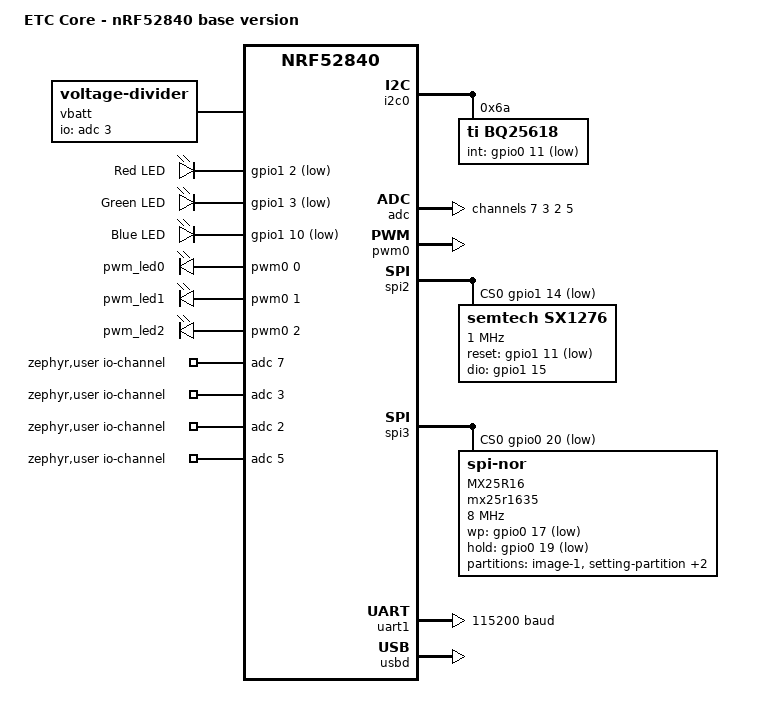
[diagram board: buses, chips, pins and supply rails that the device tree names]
/dts-v1/;
#include <nordic/nrf52840_qiaa.dtsi>
#include <zephyr/dt-bindings/gpio/gpio.h>
#include "etc_pinctrl.dtsi"

/ {
	model = "ETC Core - nRF52840 base version";
        compatible = "nordic,nrf52840-dk-nrf52840";

	chosen {
		zephyr,console = &cdc_acm_uart0;
		zephyr,shell-uart = &cdc_acm_uart0;
		zephyr,uart-mcumgr = &cdc_acm_uart0;
		zephyr,bt-mon-uart = &cdc_acm_uart0;
		zephyr,bt-c2h-uart = &cdc_acm_uart0;
		zephyr,sram = &sram0;
		zephyr,flash = &flash0;
		zephyr,code-partition = &slot0_partition;
		nordic,pm-ext-flash = &mx25r1635;
	};

	vbatt {
		compatible = "voltage-divider";
		output-ohms = <2000000>;
		full-ohms = <(2000000 + 2000000)>;
		io-channels = <&adc 3>;
	};

	ntc {
		compatible = "temp,ntc";
		b-value-k = <3434>;
		norminal-25c-ohms = <10000>;
		reference-res-ohms = <10000>;
		reference-voltage-mv = <3000>;
	};

	leds {
		compatible = "gpio-leds";
		led0: led_0 {
			gpios = <&gpio1 2 GPIO_ACTIVE_LOW>;
			label = "Red LED";
		};
		led1: led_1 {
			gpios = <&gpio1 3 GPIO_ACTIVE_LOW>;
			label = "Green LED";
		};
		led2: led_2 {
			gpios = <&gpio1 10 GPIO_ACTIVE_LOW>;
			label = "Blue LED";
		};
	};

	pwmleds {
		compatible = "pwm-leds";
		pwm_led0: pwm_led_0 {
			pwms = <&pwm0 0 PWM_MSEC(20) PWM_POLARITY_INVERTED>;
		};
		pwm_led1: pwm_led_1 {
			pwms = <&pwm0 1 PWM_MSEC(20) PWM_POLARITY_INVERTED>;
		};
		pwm_led2: pwm_led_2 {
			pwms = <&pwm0 2 PWM_MSEC(20) PWM_POLARITY_INVERTED>;
		};
	};

	board-control {
		vsens_enable: vsens-enable {
			compatible = "etc,output";
			control-gpios = <&gpio1 12 GPIO_ACTIVE_LOW>;
			status = "okay";
		};
		sens_sel0: sens-sel0 {
			compatible = "etc,output";
			control-gpios = <&gpio0 9 GPIO_ACTIVE_HIGH>;
			status = "okay";
		};
		sens_sel1: sens-sel1 {
			compatible = "etc,output";
			control-gpios = <&gpio0 10 GPIO_ACTIVE_HIGH>;
			status = "okay";
		};
		rtc_int: rtc-int {
			compatible = "etc,input";
			control-gpios = <&gpio0 3 GPIO_ACTIVE_LOW>;
			status = "okay";
		};
		hall_int: hall-int {
			compatible = "etc,input";
			control-gpios = <&gpio0 28 GPIO_ACTIVE_LOW>;
			status = "okay";
		};
	};
	
	/* These aliases are provided for compatibility with samples */
	aliases {
		led0 = &led0;
		led1 = &led1;
		led2 = &led2;
		lora0 = &lora;
		pwm-led0 = &pwm_led0;
		pwm-led1 = &pwm_led1;
		pwm-led2 = &pwm_led2;
	};
};

/* A7 = P0.31 = AIN7 - ADC_AMB */ 
/* A3 = P0.5  = AIN3 - ADC_BATT*/
/* A2 = P0.4 = AIN2 - ADC_TH*/
/* A5 = P0.29 = AIN5 - HW_VER*/
/ {
	zephyr,user {
		/* adjust channel number according to pinmux in board.dts */
		io-channels = <&adc 7>, <&adc 3>, <&adc 2>, <&adc 5>;
	};
};

&uicr {
	nfct-pins-as-gpios;
	gpio-as-nreset;
};

&gpiote {
	status = "okay";
};

&gpio0 {
	status = "okay";
	label = "GPIO_0";
};

&gpio1 {
	status = "okay";
	label = "GPIO_1";
};

&i2c0 {
	compatible = "nordic,nrf-twim";
	status = "okay"; 
	label = "I2C_0";
	pinctrl-0 = <&i2c0_default>;
	pinctrl-1 = <&i2c0_sleep>;
	pinctrl-names = "default", "sleep";

        bq25618: bq25618@6a {
                compatible = "ti,bq25618";
                reg = <0x6a>;
                min-voltage = <4400>;
                max-current = <2000>;
                charge-current = <1500>;
                charge-voltage = <4200>;
				precharge-current = <260>;
                int-gpios = <&gpio0 11 GPIO_ACTIVE_LOW>;
        };
};

&adc {
	status = "okay";
	#address-cells = <1>;
	#size-cells = <0>;

	/* ADC_AMB */
	channel@7 {
		reg = <7>;
		zephyr,gain = "ADC_GAIN_1_5";
		zephyr,reference = "ADC_REF_INTERNAL";
		zephyr,acquisition-time = <ADC_ACQ_TIME(ADC_ACQ_TIME_MICROSECONDS, 5)>;
		zephyr,input-positive = <NRF_SAADC_AIN7>; 
		zephyr,resolution = <12>;
		zephyr,oversampling = <8>;
	};

	/* ADC_BATT */
	channel@3 {
		reg = <3>;
		zephyr,gain = "ADC_GAIN_1_5";
		zephyr,reference = "ADC_REF_INTERNAL";
		zephyr,acquisition-time = <ADC_ACQ_TIME(ADC_ACQ_TIME_MICROSECONDS, 40)>;
		zephyr,input-positive = <NRF_SAADC_AIN3>;
		zephyr,resolution = <12>;
		zephyr,oversampling = <8>;
	};

	/* TH_ADC */
	channel@2 {
		reg = <2>;
		zephyr,gain = "ADC_GAIN_1_5";
		zephyr,reference = "ADC_REF_INTERNAL";
		zephyr,acquisition-time = <ADC_ACQ_TIME(ADC_ACQ_TIME_MICROSECONDS, 15)>;
		zephyr,input-positive = <NRF_SAADC_AIN2>;
		zephyr,resolution = <12>;
		zephyr,oversampling = <8>;
	};

	/* HW_VER analog input */
	channel@5 {
		reg = <5>;
		zephyr,gain = "ADC_GAIN_1_5";
		zephyr,reference = "ADC_REF_INTERNAL";
		zephyr,acquisition-time = <ADC_ACQ_TIME(ADC_ACQ_TIME_MICROSECONDS, 40)>;
		zephyr,input-positive = <NRF_SAADC_AIN5>;
		zephyr,resolution = <12>;
		zephyr,oversampling = <8>;
	};
};

&pwm0 {
	status = "okay";
	label = "PWM_0";
	pinctrl-0 = <&pwm0_default>;
	pinctrl-1 = <&pwm0_sleep>;
	pinctrl-names = "default", "sleep";
};

&spi2 {
	compatible = "nordic,nrf-spi";
	status = "okay";
	pinctrl-0 = <&spi2_default>;
	pinctrl-1 = <&spi2_sleep>;
	pinctrl-names = "default", "sleep";
	cs-gpios = <&gpio1 14 (GPIO_ACTIVE_LOW | GPIO_PULL_UP)>;

	lora: sx1276@0 {
		compatible = "semtech,sx1276";
		reg = <0>;
		label = "sx1276";
		reset-gpios = <&gpio1 11 GPIO_ACTIVE_LOW>;
		dio-gpios = <&gpio1 15 (GPIO_PULL_DOWN | GPIO_ACTIVE_HIGH)>;
		tcxo-power-startup-delay-ms = <5>;
		spi-max-frequency = <1000000>;
		power-amplifier-output = "pa-boost";
	};
};

&spi3 {
	compatible = "nordic,nrf-spim";
	status = "okay";
	pinctrl-0 = <&spi3_default>;
	pinctrl-1 = <&spi3_sleep>;
	pinctrl-names = "default", "sleep";

	cs-gpios = <&gpio0 20 GPIO_ACTIVE_LOW>;
	mx25r1635: mx25r1635@0 {
		compatible = "jedec,spi-nor";
		reg = <0>;
		spi-max-frequency = <8000000>;
		label = "MX25R16";
		jedec-id = [ C2 28 15 ];
		size = <16777216>;
		wp-gpios = < &gpio0 17 GPIO_ACTIVE_LOW >;
		hold-gpios = < &gpio0 19 GPIO_ACTIVE_LOW >;
	};
};

&uart0 {
	compatible = "nordic,nrf-uarte";
	status = "disabled";
	current-speed = <115200>;
	pinctrl-0 = <&uart0_default>;
	pinctrl-1 = <&uart0_sleep>;
	pinctrl-names = "default", "sleep";
};

&uart1 {
	compatible = "nordic,nrf-uarte";
	status = "okay";
	current-speed = <115200>;
	pinctrl-0 = <&uart1_default>;
	pinctrl-1 = <&uart1_sleep>;
	pinctrl-names = "default", "sleep";
};

&flash0 {
	partitions {
		compatible = "fixed-partitions";
		#address-cells = <1>;
		#size-cells = <1>;

		boot_partition: partition@0 {
			label = "mcuboot";
			reg = <0x00000000 0x00010000>;
		};
		slot0_partition: partition@10000 {
			label = "image-0";
			reg = <0x00010000 0x000E8000>;
		};
	};
};

&mx25r1635 {
	partitions {
		compatible = "fixed-partitions";
		#address-cells = <1>;
		#size-cells = <1>;

		slot1_partition: partition@0 {
			label = "image-1";
			reg = <0x00000000 0x000E8000>;
		};
		setting_partition: partition@E8000 {
			label = "setting-partition";
			reg = <0x000E8000 0x00010000>;
		};
		etc_settings_partition: partition@F8000 {
			label = "etc-settings-partition";
			reg = <0x000F8000 0x00020000>;
		};
		etc_records_partition: partition@118000 {
			label = "etc-records-partition";
			reg = <0x00118000 0x00060000>;
		};
	};
};

zephyr_udc0: &usbd {
	compatible = "nordic,nrf-usbd";
	status = "okay";

	cdc_acm_uart0: cdc_acm_uart0 {
		compatible = "zephyr,cdc-acm-uart";
		label = "CDC_ACM_0";
	};
	cdc_acm_uart1: cdc_acm_uart1 {
		compatible = "zephyr,cdc-acm-uart";
		label = "CDC_ACM_1";
	};
};
